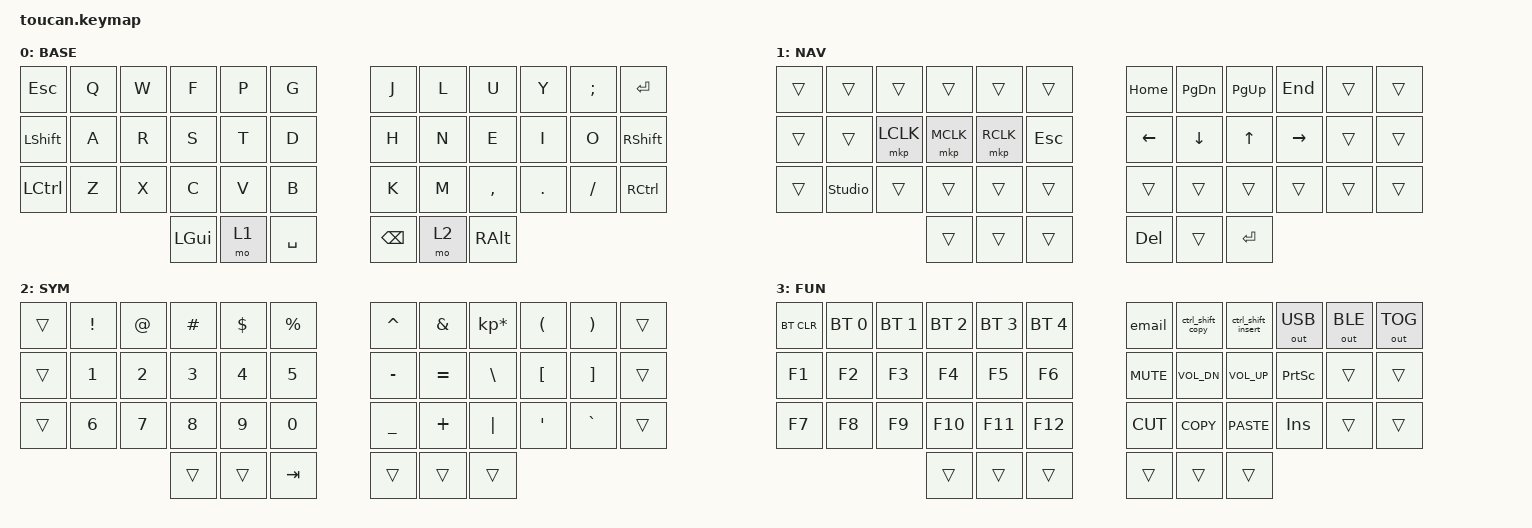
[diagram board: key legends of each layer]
#include <behaviors.dtsi>
#include <dt-bindings/zmk/keys.h>
#include <dt-bindings/zmk/bt.h>
#include <dt-bindings/zmk/outputs.h>
#include <dt-bindings/zmk/mouse.h>

#define BASE 0
#define NAV  1
#define SYM  2
#define FUN  3

#define COMBO_TIMEOUT 60

/ {
    conditional_layers {
        compatible = "zmk,conditional-layers";
        tri_layer {
            if-layers = <1 2>;
            then-layer = <3>;
        };
    };
    macros {
        ctrl_shift_insert: ctrl_shift_insert {
            compatible = "zmk,behavior-macro";
            #binding-cells = <0>;
            bindings = <&macro_press &kp LCTRL &kp LSHFT>
                     , <&macro_tap &kp INS>
                     , <&macro_release &kp LCTRL &kp LSHFT>;
        };

        ctrl_shift_copy: ctrl_shift_copy {
            compatible = "zmk,behavior-macro";
            #binding-cells = <0>;
            bindings = <&macro_press &kp LCTRL &kp LSHFT>
                     , <&macro_tap &kp C>
                     , <&macro_release &kp LCTRL &kp LSHFT>;
        };

        email: email {
            compatible = "zmk,behavior-macro";
            #binding-cells = <0>;
            bindings = <&macro_tap &kp T &kp O &kp M &kp A &kp H &kp A &kp W &kp K &kp AT &kp T &kp O &kp M &kp A &kp H &kp A &kp W &kp K &kp DOT &kp P &kp L>;
        };
    };

    keymap {
        compatible = "zmk,keymap";
        base {
            display-name = "BASE";
            bindings = <
                &kp ESC   &kp Q &kp W &kp F &kp P &kp G   &kp J &kp L  &kp U     &kp Y   &kp SEMI &kp ENTER
                &kp LSHFT &kp A &kp R &kp S &kp T &kp D   &kp H &kp N  &kp E     &kp I   &kp O    &kp RSHFT
                &kp LCTRL &kp Z &kp X &kp C &kp V &kp B   &kp K &kp M  &kp COMMA &kp DOT &kp FSLH &kp RCTRL
                                &kp LGUI &mo 1 &kp SPACE &kp BSPC &mo 2 &kp RALT
            >;
        };

        nav {
            display-name = "NAV";
            bindings = <
                &trans      &trans          &trans       &trans       &trans       &trans         &kp HOME &kp PG_DN &kp PG_UP &kp END   &trans &trans
                &trans      &trans          &mkp LCLK    &mkp MCLK    &mkp RCLK    &kp ESC         &kp LEFT &kp DOWN  &kp UP    &kp RIGHT &trans &trans
                &trans      &studio_unlock  &trans       &trans       &trans       &trans         &trans   &trans    &trans    &trans    &trans &trans
                               &trans &trans &trans  &kp DEL &trans &kp ENTER
            >;
        };

        sym {
            display-name = "SYM";
            bindings = <
                &trans &kp EXCL &kp AT &kp HASH &kp DLLR &kp PRCNT   &kp CARET    &kp AMPS  &kp KP_MULTIPLY &kp LPAR &kp RPAR &trans
                &trans &kp N1   &kp N2 &kp N3   &kp N4   &kp N5      &kp MINUS    &kp EQUAL &kp BSLH        &kp LBKT &kp RBKT &trans
                &trans &kp N6   &kp N7 &kp N8   &kp N9   &kp N0      &kp UNDER    &kp PLUS  &kp PIPE        &kp SQT &kp GRAVE &trans
                                    &trans &trans &kp TAB &trans &trans    &trans
            >;
        };

        fun {
            display-name = "FUN";
            bindings = <
                &bt BT_CLR &bt BT_SEL 0 &bt BT_SEL 1 &bt BT_SEL 2 &bt BT_SEL 3 &bt BT_SEL 4   &email &ctrl_shift_copy &ctrl_shift_insert &out OUT_USB &out OUT_BLE &out OUT_TOG
                &kp F1     &kp F2       &kp F3       &kp F4       &kp F5       &kp F6         &kp C_MUTE  &kp C_VOL_DN &kp C_VOL_UP &kp PSCRN &trans &trans
                &kp F7     &kp F8       &kp F9       &kp F10      &kp F11      &kp F12        &kp K_CUT   &kp K_COPY &kp K_PASTE  &kp INS &trans &trans
                                          &trans      &trans      &trans       &trans     &trans       &trans
            >;
        };

        extra_1 {
                status = "reserved";
        };

        extra_2 {
                status = "reserved";
        };

        extra_3 {
                status = "reserved";
        };
    };
};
